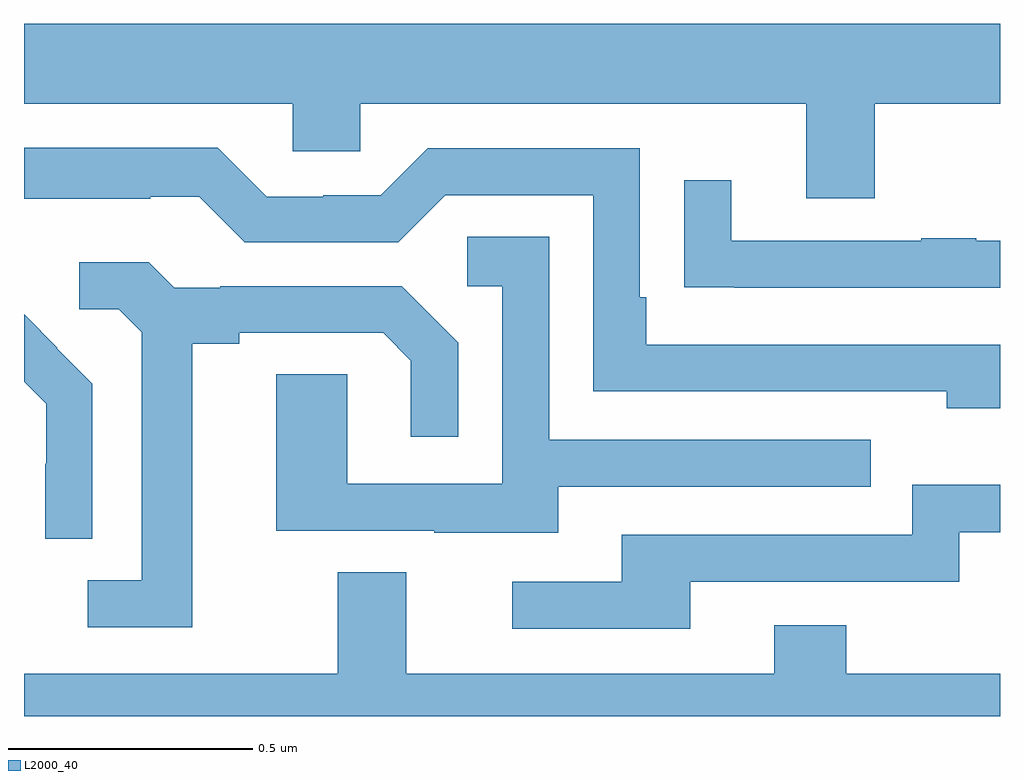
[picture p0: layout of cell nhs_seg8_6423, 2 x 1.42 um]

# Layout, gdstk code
import gdstk
lib = gdstk.Library(unit=1e-6, precision=1e-09)
def P(c, l, *ps):  # polygons
    for p in ps: c.add(gdstk.Polygon(p, *l))
L2000_40 = (2000, 40)

nhs_seg8_6423 = lib.new_cell('nhs_seg8_6423')
P(nhs_seg8_6423, L2000_40, [(197.743,1127.156),(198,1127.156),(198,1127.32),(196,1127.32),(196,1127.156),(196.551,1127.156),(196.551,1127.058),(196.689,1127.058),(196.689,1127.156),(197.603,1127.156),(197.603,1126.962),(197.743,1126.962)],
  [(198,1126.662),(197.275,1126.662),(197.275,1126.759),(197.262,1126.759),(197.262,1127.064),(196.827,1127.064),(196.731,1126.968),(196.613,1126.968),(196.613,1126.965),(196.497,1126.965),(196.397,1127.065),(196,1127.065),(196,1126.961),(196.259,1126.961),(196.259,1126.965),(196.359,1126.965),(196.452,1126.872),(196.767,1126.872),(196.863,1126.968),(197.166,1126.968),(197.166,1126.566),(197.891,1126.566),(197.891,1126.532),(198,1126.532)],
  [(198,1126.875),(197.951,1126.875),(197.951,1126.88),(197.839,1126.88),(197.839,1126.875),(197.449,1126.875),(197.449,1126.999),(197.353,1126.999),(197.353,1126.78),(197.455,1126.78),(197.455,1126.779),(198,1126.779)],
  [(197.095,1126.371),(197.735,1126.371),(197.735,1126.467),(197.076,1126.467),(197.076,1126.883),(196.908,1126.883),(196.908,1126.782),(196.98,1126.782),(196.98,1126.377),(196.662,1126.377),(196.662,1126.601),(196.517,1126.601),(196.517,1126.281),(196.841,1126.281),(196.841,1126.277),(197.095,1126.277)],
  [(196.345,1126.664),(196.441,1126.664),(196.441,1126.686),(196.736,1126.686),(196.793,1126.629),(196.793,1126.473),(196.89,1126.473),(196.89,1126.666),(196.774,1126.782),(196.402,1126.782),(196.402,1126.779),(196.308,1126.779),(196.256,1126.831),(196.113,1126.831),(196.113,1126.734),(196.194,1126.734),(196.241,1126.687),(196.241,1126.179),(196.131,1126.179),(196.131,1126.083),(196.345,1126.083)],
  [(196.14,1126.582),(196.067,1126.655),(196.068,1126.656),(196,1126.724),(196,1126.586),(196.046,1126.541),(196.046,1126.418),(196.044,1126.418),(196.044,1126.264),(196.14,1126.264)],
  [(197.365,1126.176),(197.916,1126.176),(197.916,1126.278),(198,1126.278),(198,1126.375),(197.82,1126.375),(197.82,1126.272),(197.225,1126.272),(197.225,1126.176),(197.001,1126.176),(197.001,1126.08),(197.365,1126.08)],
  [(198,1125.988),(197.685,1125.988),(197.685,1126.087),(197.537,1126.087),(197.537,1125.988),(196.783,1125.988),(196.783,1126.196),(196.643,1126.196),(196.643,1125.988),(196,1125.988),(196,1125.9),(198,1125.9)])

lib.write_gds('nhs_seg8_6423.gds')
